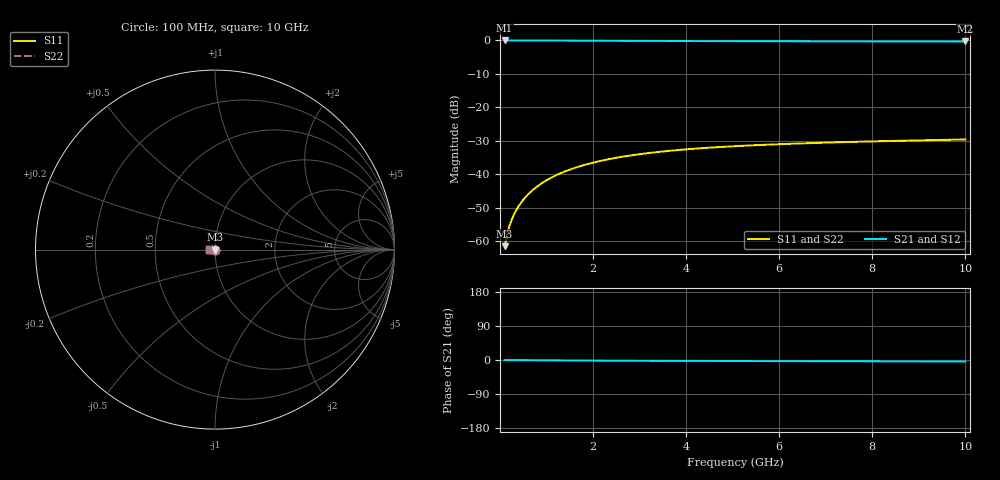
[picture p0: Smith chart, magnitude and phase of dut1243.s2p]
! Touchstone file exported from HFSS 2024.1.0
!  File:  C:/UserFiles/LocalFiles/RDL_TSV_Batchsim/temp_TSV1_1243_1780251519.aedt
!  Generated:  02:24:43 AM Jun  1, 2026
!  Design:  TSV1
!  Project:  temp_TSV1_1243_1780251519
!  Setup:  Setup1
!  Solution:  Sweep
! Variables:
!  dtsv = 8.8um
!  hbump = 3um
!  htsv = 59.09um
!  lrdl = 252.1521522um
!  p = 40
!  p1 = 43.84um
!  t = 500um
!  trdl = 3um
!  wrdl = 24.89489489um
# GHz S MA R 50.000000
! Terminal data exported
! Port[1] = TSV22_T1
! Port[2] = TSV22_T2
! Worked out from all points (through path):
!   100 points, 100 MHz to 10 GHz, reference 50 ohm
!   highest |S21| = 0.00 dB at 100 MHz (marker M1); lowest = -0.3 dB at 10 GHz (marker M2)
!   lowest |S11| = -61.5 dB at 100 MHz (marker M3), VSWR 1.00, Z = 50 - j0.0833 ohm
!   |S11| at or under -10 dB: start of sweep to end of sweep
!   |S22| runs from -61.5 to -29.6 dB; largest |S21 - S12| = 6.5e-15
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0.1  0.0008435 -80.9  0.9998 -0.1  0.9998 -0.1  0.0008435 -80.9
! Gamma 0 0 0 0
! Port Impedance 50 0 50 0
0.2  0.001675 -87.7  0.9997 -0.2  0.9997 -0.2  0.001675 -87.7
0.3  0.00251 -91.2  0.9996 -0.3  0.9996 -0.3  0.00251 -91.2
0.4  0.003341 -93.9  0.9994 -0.4  0.9994 -0.4  0.003341 -93.9
0.5  0.004164 -96.2  0.9992 -0.4  0.9992 -0.4  0.004164 -96.2
0.6  0.00498 -98.2  0.9989 -0.5  0.9989 -0.5  0.00498 -98.2
0.7  0.005786 -100.2  0.9986 -0.6  0.9986 -0.6  0.005786 -100.2
0.8  0.00658 -102.1  0.9982 -0.7  0.9982 -0.7  0.00658 -102.1
0.9  0.007363 -103.9  0.9978 -0.8  0.9978 -0.8  0.007363 -103.9
1.1  0.008886 -107.3  0.9969 -0.9  0.9969 -0.9  0.008886 -107.3
1.4  0.01106 -112.2  0.9954 -1.1  0.9954 -1.1  0.01106 -112.2
1.6  0.01242 -115.4  0.9942 -1.3  0.9942 -1.3  0.01242 -115.4
1.8  0.01371 -118.3  0.993 -1.4  0.993 -1.4  0.01371 -118.3
2.1  0.0155 -122.6  0.9911 -1.6  0.9911 -1.6  0.0155 -122.6
2.5  0.01765 -127.9  0.9886 -1.8  0.9886 -1.8  0.01765 -127.9
2.9  0.01954 -132.8  0.9862 -2.0  0.9862 -2.0  0.01954 -132.8
3.4  0.02156 -138.3  0.9833 -2.2  0.9833 -2.2  0.02156 -138.3
4.2  0.02417 -146.0  0.9793 -2.4  0.9793 -2.4  0.02417 -146.0
5.1  0.02642 -153.4  0.9756 -2.7  0.9756 -2.7  0.02642 -153.4
6.7  0.02929 -164.0  0.9708 -3.1  0.9708 -3.1  0.02929 -164.0
8.4  0.03148 -173.0  0.9674 -3.5  0.9674 -3.5  0.03148 -173.0
10  0.03313 179.9  0.9652 -3.9  0.9652 -3.9  0.03313 179.9
